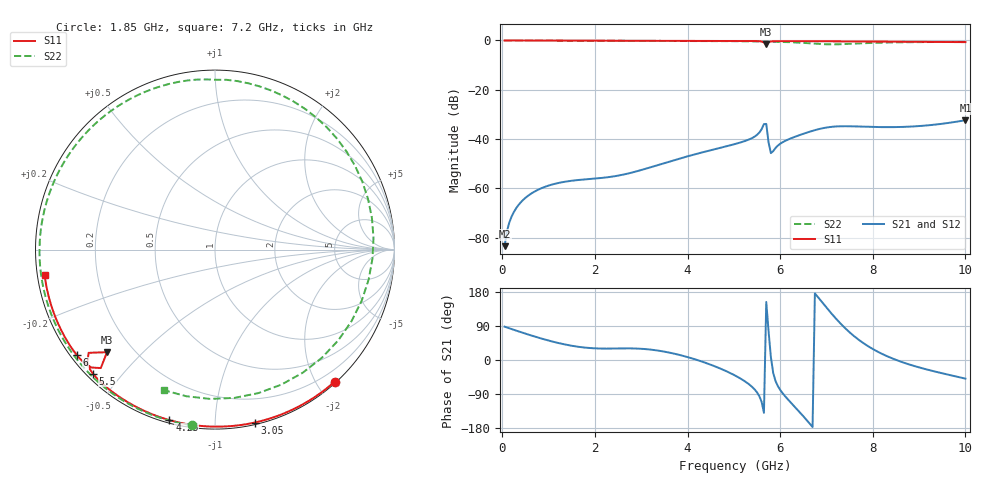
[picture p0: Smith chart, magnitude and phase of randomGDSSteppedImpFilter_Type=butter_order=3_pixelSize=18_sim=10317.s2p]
! freq	dB(S11)	phase(S11)	dB(S12)	phase(S12)
!  dB(S21)	phase(S21)	dB(S22)	phase(S22)
!S-par simulation data
#  GHz  S  DB  R 50
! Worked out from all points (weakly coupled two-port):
!   200 points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, 50 MHz to 10 GHz, reference 50 ohm
!   highest |S21| = -32.37 dB at 10 GHz (marker M1); lowest = -83.5 dB at 50 MHz (marker M2)
!   lowest |S11| = -1.6 dB at 5.7 GHz (marker M3), VSWR 10.75, Z = 5.39 - j19.8 ohm
!   |S11| at or under -10 dB: nowhere
!   |S22| runs from -1.6 to 0.0 dB; largest |S21 - S12| = 0
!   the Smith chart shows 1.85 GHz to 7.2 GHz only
!   S11 on the Smith chart (normalised r, x): 1.85 GHz: 0.02, -2.26; 3.05 GHz: 0.01, -1.26; 4.25 GHz: 0.01, -0.77; 5.5 GHz: 0.02, -0.42; 6 GHz: 0.02, -0.34; 7.2 GHz: 0.02, -0.08
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0.05  -0.00 -1.3  -83.49 88.0  -83.49 88.0  -0.00 -2.9
0.25  -0.01 -6.6  -69.61 79.6  -69.61 79.6  -0.02 -14.3
0.55  -0.02 -14.4  -63.12 67.6  -63.12 67.6  -0.04 -31.1
1.15  -0.04 -30.0  -58.11 46.6  -58.11 46.6  -0.08 -63.3
1.75  -0.06 -45.3  -56.44 33.2  -56.44 33.2  -0.11 -92.8
1.85  -0.06 -47.8  -56.28 32.0  -56.28 32.0  -0.11 -97.5
3.05  -0.10 -77.0  -52.32 29.2  -52.32 29.2  -0.16 -148.9
3.4  -0.11 -85.3  -50.33 24.2  -50.33 24.2  -0.17 -162.9
4.25  -0.15 -104.9  -45.76 -1.7  -45.76 -1.7  -0.22 163.0
5.05  -0.19 -123.3  -41.91 -42.5  -41.91 -42.5  -0.30 127.0
5.5  -0.27 -134.6  -38.32 -85.4  -38.32 -85.4  -0.39 102.3
5.7  -1.62 -136.5  -33.89 153.2  -33.89 153.2  -0.48 89.6
5.8  -0.43 -136.3  -45.73 7.5  -45.73 7.5  -0.47 82.4
6  -0.28 -142.7  -41.94 -78.7  -41.94 -78.7  -0.56 66.4
6.45  -0.29 -153.7  -38.21 -141.6  -38.21 -141.6  -0.93 18.2
6.7  -0.31 -159.5  -36.67 -176.9  -36.67 -176.9  -1.25 -19.1
6.95  -0.33 -165.4  -35.51 145.9  -35.51 145.9  -1.53 -63.8
7.2  -0.36 -171.4  -34.92 109.9  -34.92 109.9  -1.58 -110.1
7.65  -0.40 177.6  -34.90 57.7  -34.90 57.7  -1.24 -177.1
8.35  -0.48 159.4  -35.19 7.8  -35.19 7.8  -0.83 119.1
9.05  -0.56 139.8  -34.68 -21.2  -34.68 -21.2  -0.66 76.4
10  -0.68 109.8  -32.37 -49.2  -32.37 -49.2  -0.62 29.9
